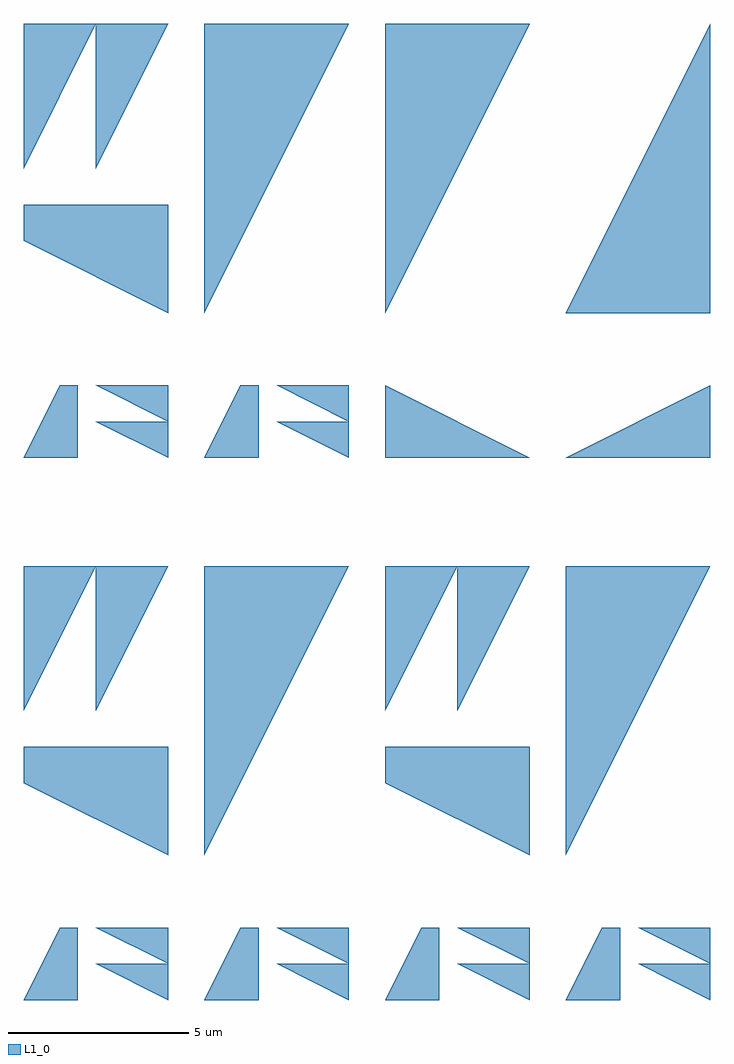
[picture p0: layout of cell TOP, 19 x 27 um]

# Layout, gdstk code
from math import pi, radians
import gdstk
lib = gdstk.Library(unit=1e-6, precision=1e-09)
def R(c, l, rs):  # rectangles x0, y0, x1, y1
    for r in rs: c.add(gdstk.rectangle(r[:2], r[2:], *l))
def P(c, l, *ps):  # polygons
    for p in ps: c.add(gdstk.Polygon(p, *l))
L1_0 = (1, 0)
L2_0 = (2, 0)
L3_0 = (3, 0)

c_a = lib.new_cell('A')
P(c_a, L1_0, [(0,0),(1,2),(1,0)])

c_b = lib.new_cell('B')
R(c_b, L1_0, [(1,0,1.5,2)])
c_b.add(gdstk.FlexPath([(0,0),(1,2)], 0, ends="flush", simple_path=True, layer=2, datatype=0))  # L2_0
c_b.add(gdstk.FlexPath([(1,2),(1.5,2)], 0, ends="flush", simple_path=True, layer=2, datatype=0))  # L2_0
c_b.add(gdstk.FlexPath([(2,1),(4,1)], 0, ends="flush", simple_path=True, layer=2, datatype=0))  # L2_0
c_b.add(gdstk.FlexPath([(4,1),(2,2)], 0, ends="flush", simple_path=True, layer=2, datatype=0))  # L2_0
c_b.add(gdstk.FlexPath([(4,0),(2,1)], 0, ends="flush", simple_path=True, layer=3, datatype=0))  # L3_0
c_b.add(gdstk.FlexPath([(2,1),(4,1)], 0, ends="flush", simple_path=True, layer=3, datatype=0))  # L3_0
c_b.add(gdstk.FlexPath([(4,1),(2,2)], 0, ends="flush", simple_path=True, layer=3, datatype=0))  # L3_0
c_b.add(gdstk.FlexPath([(2,2),(4,2)], 0, ends="flush", simple_path=True, layer=3, datatype=0))  # L3_0
c_b.add(gdstk.Reference(c_a, (0,0)))
r = gdstk.Reference(c_a, (4,0), rotation=pi/2); r.repetition = gdstk.Repetition(2, 1, v1=(0,1), v2=(0,0)); c_b.add(r)

c_c = lib.new_cell('C')
P(c_c, L1_0, [(5,4),(5,12),(9,12)])
c_c.add(gdstk.FlexPath([(9,12),(5,4)], 0, ends="flush", simple_path=True, layer=3, datatype=0))  # L3_0
c_c.add(gdstk.FlexPath([(5,4),(5,12)], 0, ends="flush", simple_path=True, layer=3, datatype=0))  # L3_0
r = gdstk.Reference(c_b, (0,0)); r.repetition = gdstk.Repetition(2, 1, v1=(5,0), v2=(0,0)); c_c.add(r)
c_c.add(gdstk.Reference(c_b, (4,4), rotation=pi/2, magnification=2))

top = lib.new_cell('TOP')
P(top, L1_0, [(15,19),(19,27),(19,19)],
  [(10,15),(10,17),(14,15)],
  [(15,15),(19,17),(19,15)],
  [(10,19),(10,27),(14,27)])
top.add(gdstk.FlexPath([(15,19),(19,27)], 0, ends="flush", simple_path=True, layer=3, datatype=0))  # L3_0
top.add(gdstk.FlexPath([(19,27),(19,19)], 0, ends="flush", simple_path=True, layer=3, datatype=0))  # L3_0
top.add(gdstk.FlexPath([(10,17),(14,15)], 0, ends="flush", simple_path=True, layer=3, datatype=0))  # L3_0
top.add(gdstk.FlexPath([(14,15),(10,15)], 0, ends="flush", simple_path=True, layer=3, datatype=0))  # L3_0
top.add(gdstk.FlexPath([(19,15),(15,15)], 0, ends="flush", simple_path=True, layer=3, datatype=0))  # L3_0
top.add(gdstk.FlexPath([(15,15),(19,17)], 0, ends="flush", simple_path=True, layer=3, datatype=0))  # L3_0
top.add(gdstk.FlexPath([(14,27),(10,19)], 0, ends="flush", simple_path=True, layer=3, datatype=0))  # L3_0
top.add(gdstk.FlexPath([(10,19),(10,27)], 0, ends="flush", simple_path=True, layer=3, datatype=0))  # L3_0
top.add(gdstk.Reference(c_c, (0,15)))
r = gdstk.Reference(c_c, (0,0)); r.repetition = gdstk.Repetition(2, 1, v1=(10,0), v2=(0,0)); top.add(r)

lib.write_gds('TOP.gds')
